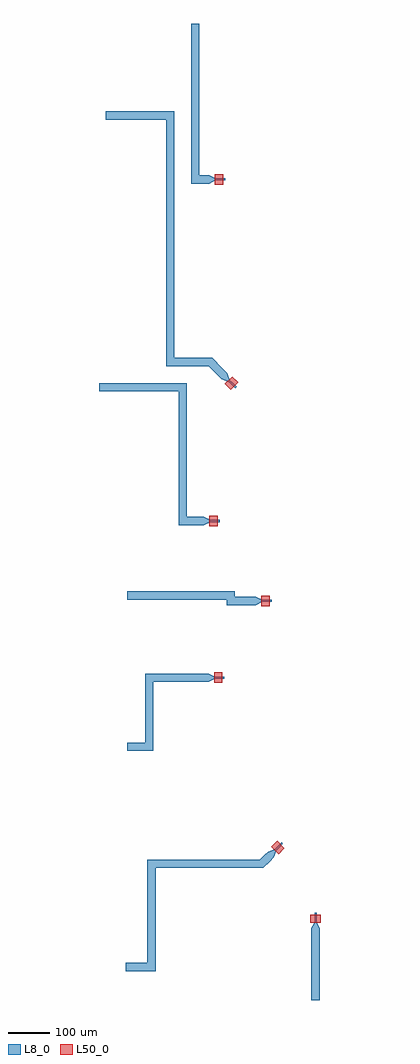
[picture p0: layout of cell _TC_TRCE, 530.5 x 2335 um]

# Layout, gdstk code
from math import pi, radians
import gdstk
lib = gdstk.Library(unit=1e-6, precision=1e-09)
def R(c, l, rs):  # rectangles x0, y0, x1, y1
    for r in rs: c.add(gdstk.rectangle(r[:2], r[2:], *l))
def P(c, l, *ps):  # polygons
    for p in ps: c.add(gdstk.Polygon(p, *l))
L8_0 = (8, 0)
L50_0 = (50, 0)

c__tc_prbe_top = lib.new_cell('_TC_PRBE_TOP')
R(c__tc_prbe_top, L8_0, [(23.105,-2.5,38.105,2.5)])
P(c__tc_prbe_top, L8_0, [(0,-10),(0,10),(15.001,2.479),(23.076,2.479),(23.076,-2.521),(15,-2.521)])
R(c__tc_prbe_top, L50_0, [(13.105,-12.5,33.116,12.5)])

c__tc_trce = lib.new_cell('_TC_TRCE')
c__tc_trce.add(gdstk.FlexPath([(-509.999,1169.001),(-509.999,1100.001),(-509.999,797.319),(-476.606,797.319)], 20, ends="flush", simple_path=True, layer=8, datatype=0))  # L8_0
c__tc_trce.add(gdstk.FlexPath([(-740,300),(-540,300),(-540,-20),(-499,-20),(-489.214,-20.001)], 20, ends="flush", simple_path=True, layer=8, datatype=0))  # L8_0
c__tc_trce.add(gdstk.FlexPath([(-222,-994.832),(-222,-1166)], 20, ends="flush", simple_path=True, layer=8, datatype=0))  # L8_0
c__tc_trce.add(gdstk.FlexPath([(-328.849,-817.859),(-338,-827),(-351,-840),(-355,-840),(-365.084,-840.003)], 20, ends="flush", simple_path=True, layer=8, datatype=0))  # L8_0
c__tc_trce.add(gdstk.FlexPath([(-440,-198.061),(-425,-198.061),(-425,-211.061),(-365.085,-211.061),(-365.085,-211.061)], 20, ends="flush", simple_path=True, layer=8, datatype=0))  # L8_0
c__tc_trce.add(gdstk.FlexPath([(-672.999,-197.999),(-599.999,-197.999),(-599.999,-198.061),(-440,-198.061)], 20, ends="flush", simple_path=True, layer=8, datatype=0))  # L8_0
c__tc_trce.add(gdstk.FlexPath([(-440,326),(-452,338),(-474,360),(-569.999,360),(-570,400)], 20, ends="flush", simple_path=True, layer=8, datatype=0))  # L8_0
c__tc_trce.add(gdstk.FlexPath([(-723.999,950.001),(-569.999,950.001),(-569.999,530.001),(-569.999,359.953),(-524.706,359.953)], 20, ends="flush", simple_path=True, layer=8, datatype=0))  # L8_0
c__tc_trce.add(gdstk.FlexPath([(-675.999,-1086.999),(-614.999,-1086.998),(-614.999,-840.003),(-365.084,-840.003)], 20, ends="flush", simple_path=True, layer=8, datatype=0))  # L8_0
c__tc_trce.add(gdstk.FlexPath([(-672.999,-559.999),(-619.999,-560),(-619.999,-394.909),(-478.188,-394.909)], 20, ends="flush", simple_path=True, layer=8, datatype=0))  # L8_0
c__tc_trce.add(gdstk.Reference(c__tc_prbe_top, (-489.214,-20.001)))
c__tc_trce.add(gdstk.Reference(c__tc_prbe_top, (-440,326), rotation=radians(315)))
c__tc_trce.add(gdstk.Reference(c__tc_prbe_top, (-328.849,-817.859), rotation=radians(45)))
c__tc_trce.add(gdstk.Reference(c__tc_prbe_top, (-222,-994.832), rotation=pi/2))
c__tc_trce.add(gdstk.Reference(c__tc_prbe_top, (-476.606,797.319)))
c__tc_trce.add(gdstk.Reference(c__tc_prbe_top, (-365.085,-211.061)))
c__tc_trce.add(gdstk.Reference(c__tc_prbe_top, (-478.188,-394.909)))

lib.write_gds('_TC_TRCE.gds')
